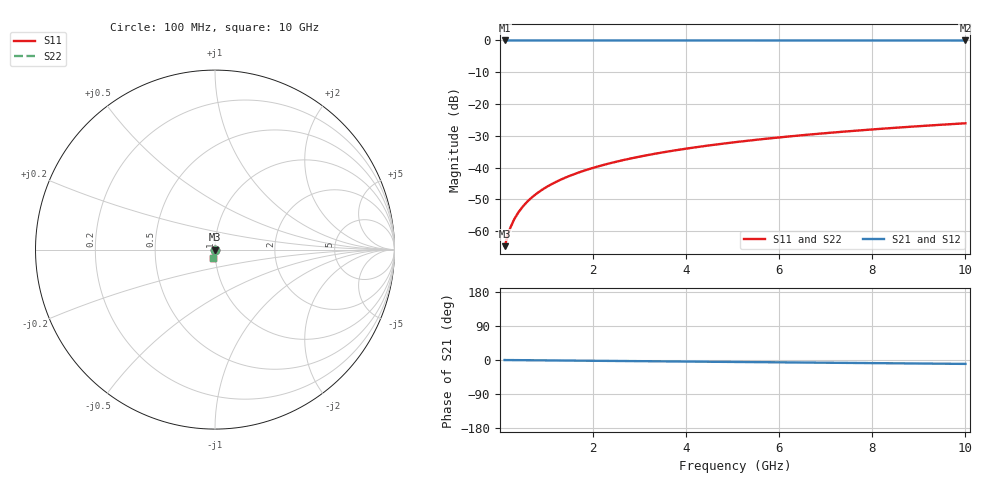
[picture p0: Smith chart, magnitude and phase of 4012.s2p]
# Hz S RI R 50.00
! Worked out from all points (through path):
!   100 points, 100 MHz to 10 GHz, reference 50 ohm
!   highest |S21| = 0.00 dB at 100 MHz (marker M1); lowest = 0.0 dB at 10 GHz (marker M2)
!   group delay of S21, straight-line fit = 2.86 ps
!   lowest |S11| = -64.7 dB at 100 MHz (marker M3), VSWR 1.00, Z = 50 - j0.0496 ohm
!   |S11| at or under -10 dB: start of sweep to end of sweep
!   |S22| runs from -64.7 to -26.0 dB; largest |S21 - S12| = 0
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1e8  0.000308 -0.000496  0.9997 -0.00178  0.9997 -0.00178  0.000308 -0.000496
2e8  0.000306 -0.000992  0.9997 -0.00355  0.9997 -0.00355  0.000306 -0.000992
3e8  0.000302 -0.00149  0.9997 -0.00533  0.9997 -0.00533  0.000302 -0.00149
4e8  0.000296 -0.00198  0.9997 -0.00711  0.9997 -0.00711  0.000296 -0.00198
5e8  0.000289 -0.00248  0.9996 -0.00888  0.9996 -0.00888  0.000289 -0.00248
6e8  0.000279 -0.00298  0.9996 -0.0107  0.9996 -0.0107  0.000279 -0.00298
7e8  0.000267 -0.00347  0.9996 -0.0124  0.9996 -0.0124  0.000267 -0.00347
8e8  0.000254 -0.00397  0.9996 -0.0142  0.9996 -0.0142  0.000254 -0.00397
9e8  0.000238 -0.00446  0.9995 -0.016  0.9995 -0.016  0.000238 -0.00446
1.1e9  0.000202 -0.00546  0.9995 -0.0195  0.9995 -0.0195  0.000202 -0.00546
1.4e9  0.000135 -0.00695  0.9993 -0.0249  0.9993 -0.0249  0.000135 -0.00695
1.8e9  1.94e-05 -0.00893  0.9991 -0.032  0.9991 -0.032  1.94e-05 -0.00893
2.1e9  -8.58e-05 -0.0104  0.9989 -0.0373  0.9989 -0.0373  -8.58e-05 -0.0104
2.5e9  -0.000251 -0.0124  0.9986 -0.0445  0.9986 -0.0445  -0.000251 -0.0124
2.9e9  -0.000445 -0.0144  0.9982 -0.0516  0.9982 -0.0516  -0.000445 -0.0144
3.4e9  -0.000728 -0.0169  0.9977 -0.0605  0.9977 -0.0605  -0.000728 -0.0169
4.2e9  -0.00127 -0.0209  0.9966 -0.0747  0.9966 -0.0747  -0.00127 -0.0209
5.1e9  -0.00202 -0.0253  0.9951 -0.0908  0.9951 -0.0908  -0.00202 -0.0253
5.9e9  -0.00282 -0.0293  0.9936 -0.1051  0.9936 -0.1051  -0.00282 -0.0293
6.7e9  -0.00372 -0.0332  0.9919 -0.1194  0.9919 -0.1194  -0.00372 -0.0332
8.4e9  -0.00602 -0.0415  0.9874 -0.1497  0.9874 -0.1497  -0.00602 -0.0415
1e10  -0.00866 -0.0491  0.9823 -0.1782  0.9823 -0.1782  -0.00866 -0.0491
